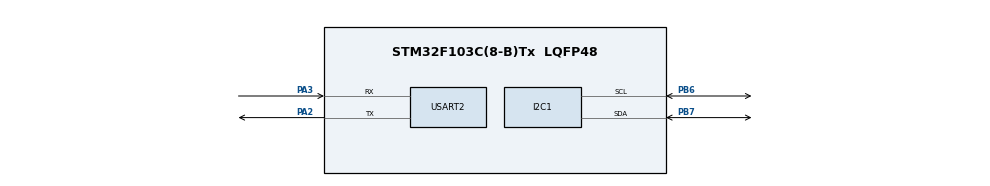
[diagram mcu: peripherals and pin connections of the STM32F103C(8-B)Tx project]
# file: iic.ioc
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Dma.I2C1_RX.0.Direction=DMA_PERIPH_TO_MEMORY
Dma.I2C1_RX.0.Instance=DMA1_Channel7
Dma.I2C1_RX.0.MemDataAlignment=DMA_MDATAALIGN_BYTE
Dma.I2C1_RX.0.MemInc=DMA_MINC_ENABLE
Dma.I2C1_RX.0.Mode=DMA_NORMAL
Dma.I2C1_RX.0.PeriphDataAlignment=DMA_PDATAALIGN_BYTE
Dma.I2C1_RX.0.PeriphInc=DMA_PINC_DISABLE
Dma.I2C1_RX.0.Priority=DMA_PRIORITY_LOW
Dma.I2C1_TX.1.Direction=DMA_MEMORY_TO_PERIPH
Dma.I2C1_TX.1.Instance=DMA1_Channel6
Dma.I2C1_TX.1.MemDataAlignment=DMA_MDATAALIGN_BYTE
Dma.I2C1_TX.1.MemInc=DMA_MINC_ENABLE
Dma.I2C1_TX.1.Mode=DMA_NORMAL
Dma.I2C1_TX.1.PeriphDataAlignment=DMA_PDATAALIGN_BYTE
Dma.I2C1_TX.1.PeriphInc=DMA_PINC_DISABLE
Dma.I2C1_TX.1.Priority=DMA_PRIORITY_LOW
Dma.Request0=I2C1_RX
Dma.Request1=I2C1_TX
Mcu.Family=STM32F1
Mcu.Name=STM32F103C(8-B)Tx
Mcu.Package=LQFP48
NVIC.DMA1_Channel6_IRQn=true\:0\:0\:false\:false\:true\:false\:true\:true
NVIC.DMA1_Channel7_IRQn=true\:0\:0\:false\:false\:true\:false\:true\:true
NVIC.I2C1_ER_IRQn=true\:0\:0\:false\:false\:true\:true\:true\:true
NVIC.I2C1_EV_IRQn=true\:0\:0\:false\:false\:true\:true\:true\:true
NVIC.PriorityGroup=NVIC_PRIORITYGROUP_4
PA13.Mode=Serial_Wire
PA13.Signal=SYS_JTMS-SWDIO
PA14.Mode=Serial_Wire
PA14.Signal=SYS_JTCK-SWCLK
PA2.Mode=Asynchronous
PA2.Signal=USART2_TX
PA3.Mode=Asynchronous
PA3.Signal=USART2_RX
PB6.Mode=I2C
PB6.Signal=I2C1_SCL
PB7.Mode=I2C
PB7.Signal=I2C1_SDA
ProjectManager.HeapSize=0x200
ProjectManager.StackSize=0x400
ProjectManager.TargetToolchain=STM32CubeIDE
RCC.APB1Freq_Value=8000000
RCC.APB2Freq_Value=8000000
USART2.VirtualMode=VM_ASYNC
board=custom

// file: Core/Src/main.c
/* USER CODE BEGIN Header */
/**
  ******************************************************************************
  * @file           : main.c
  * @brief          : Main program body
  ******************************************************************************
  * @attention
  *
  * Copyright (c) 2026 STMicroelectronics.
  * All rights reserved.
  *
  * This software is licensed under terms that can be found in the LICENSE file
  * in the root directory of this software component.
  * If no LICENSE file comes with this software, it is provided AS-IS.
  *
  ******************************************************************************
  */
/* USER CODE END Header */
#include "main.h"
#include "dma.h"
#include "i2c.h"
#include "usart.h"
#include "gpio.h"
/* USER CODE BEGIN Includes */
#include "aht20.h"
#include <stdio.h>
#include <string.h>
/* USER CODE END Includes */

/* USER CODE BEGIN PV */
// 0:初始狀態 發送測量命令
// 1 : 正在發送測量命令
// 2 : 測量命令發送完成，等待75ms後讀取AHT20數據
// 3 : 讀取中
// 4 : 讀取完成

 uint8_t aht20State=0;
/* USER CODE END PV */

void SystemClock_Config(void);

int main(void)
{

  /* MCU Configuration--------------------------------------------------------*/

  /* Reset of all peripherals, Initializes the Flash interface and the Systick. */
  HAL_Init();

  /* Configure the system clock */
  SystemClock_Config();

  /* Initialize all configured peripherals */
  MX_GPIO_Init();
  MX_DMA_Init();
  MX_I2C1_Init();
  MX_USART2_UART_Init();
  /* USER CODE BEGIN 2 */
  AHT20_Init();

  float temperature,humidity;
  char message[50];
  /* USER CODE END 2 */

  /* Infinite loop */
  /* USER CODE BEGIN WHILE */
  while (1)
  {

	  if(aht20State==0){
		  AHT20_Measure();
		  aht20State=1;
	  }else if(aht20State==2){
		  HAL_Delay(75);
		  AHT20_Get();
		  aht20State=3;
	  }else if(aht20State==4){
		  AHT20_Analysis(&temperature,&humidity);
		  sprintf(message,"溫度: %.1f 度C, 濕度:%.1f %%\r\n",temperature,humidity);
		  HAL_UART_Transmit(&huart2, (uint8_t*)message, strlen(message), HAL_MAX_DELAY);
		  HAL_Delay(1000);
		  aht20State=0;
	  }

    /* USER CODE END WHILE */
//	  AHT20_Read(&temperature,&humidity);
//	  sprintf(message,"溫度: %.1f 度C, 濕度:%.1f %%\r\n",temperature,humidity);
//	  HAL_UART_Transmit(&huart2, (uint8_t*)message, strlen(message), HAL_MAX_DELAY);
//	  HAL_Delay(1000);
  }
}

void SystemClock_Config(void)
{
  RCC_OscInitTypeDef RCC_OscInitStruct = {0};
  RCC_ClkInitTypeDef RCC_ClkInitStruct = {0};

  /** Initializes the RCC Oscillators according to the specified parameters
  * in the RCC_OscInitTypeDef structure.
  */
  RCC_OscInitStruct.OscillatorType = RCC_OSCILLATORTYPE_HSI;
  RCC_OscInitStruct.HSIState = RCC_HSI_ON;
  RCC_OscInitStruct.HSICalibrationValue = RCC_HSICALIBRATION_DEFAULT;
  RCC_OscInitStruct.PLL.PLLState = RCC_PLL_NONE;
  if (HAL_RCC_OscConfig(&RCC_OscInitStruct) != HAL_OK)
  {
    Error_Handler();
  }

  /** Initializes the CPU, AHB and APB buses clocks
  */
  RCC_ClkInitStruct.ClockType = RCC_CLOCKTYPE_HCLK|RCC_CLOCKTYPE_SYSCLK
                              |RCC_CLOCKTYPE_PCLK1|RCC_CLOCKTYPE_PCLK2;
  RCC_ClkInitStruct.SYSCLKSource = RCC_SYSCLKSOURCE_HSI;
  RCC_ClkInitStruct.AHBCLKDivider = RCC_SYSCLK_DIV1;
  RCC_ClkInitStruct.APB1CLKDivider = RCC_HCLK_DIV1;
  RCC_ClkInitStruct.APB2CLKDivider = RCC_HCLK_DIV1;

  if (HAL_RCC_ClockConfig(&RCC_ClkInitStruct, FLASH_LATENCY_0) != HAL_OK)
  {
    Error_Handler();
  }
}

void Error_Handler(void)
{
  __disable_irq();
  while (1)
  {
  }
}
